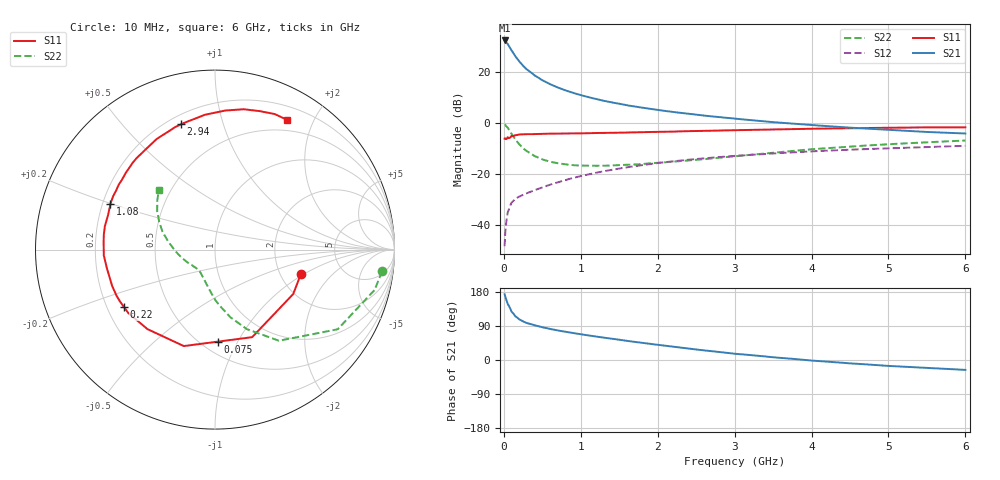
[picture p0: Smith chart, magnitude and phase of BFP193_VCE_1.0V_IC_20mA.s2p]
! Infineon Technologies  Discrete & RF Semiconductors
! BFP193
! VCE = 1.0 V,  IC =  20 mA
! Common Emitter S-Parameters:  Jan 2016
# GHz  S  MA  R  50
!  f  S11  S21  S12  S22
! GHz  MAG  ANG  MAG  ANG  MAG  ANG  MAG  ANG
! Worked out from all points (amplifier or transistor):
!   210 points, 10 MHz to 6 GHz, reference 50 ohm
!   highest |S21| = 32.4 dB at 10 MHz (marker M1)
!   |S21| within 3 dB of that: start of sweep to 81.87 MHz
!   unconditionally stable (mu >= 1): 683.6 MHz to 3.97 GHz
!   at 185 MHz: K = 0.51, MSG = 26.9 dB, |S12| = -29.0 dB
!   at 1.52 GHz: K = 1.09, MAG = 10.7 dB, |S12| = -17.7 dB
!   at 6 GHz: K = 0.97, MSG = 2.4 dB, |S12| = -8.9 dB
!   S11 on the Smith chart (normalised r, x): 10 MHz: 2.59, -0.93; 75 MHz: 0.60, -0.83; 220 MHz: 0.27, -0.27; 1.08 GHz: 0.23, +0.20; 2.94 GHz: 0.25, +0.74; 6 GHz: 0.36, +1.64
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0.01  0.4976 -15.8  41.49 173.4  0.0039 86.1  0.9393 -7.4
0.02  0.5012 -29.6  39.83 165.6  0.0078 77.6  0.9171 -14.2
0.05  0.53 -67.0  35.38 148.0  0.0177 65.8  0.815 -33.0
0.075  0.5129 -88.1  30.55 139.3  0.0226 58.1  0.7045 -42.5
0.1  0.5648 -107.9  26.67 127.7  0.0277 53.2  0.6198 -55.0
0.15  0.5813 -130.3  20.23 115.2  0.033 47.9  0.477 -68.2
0.2  0.5985 -143.8  16.18 107.3  0.0364 46.2  0.3864 -77.2
0.22  0.5995 -147.7  14.97 105.3  0.0376 46.1  0.3599 -79.7
0.26  0.6057 -154.8  12.79 100.9  0.0401 46.3  0.3136 -85.2
0.3  0.6078 -160.5  11.21 97.5  0.0424 47.8  0.282 -89.5
0.4  0.6112 -170.2  8.589 91.4  0.0487 49.8  0.2265 -97.8
0.5  0.6203 -177.0  6.901 86.4  0.055 51.7  0.1945 -104.7
0.7  0.6252 172.0  4.989 77.9  0.0691 54.8  0.1638 -115.2
1.02  0.6306 158.8  3.463 67.3  0.0929 55.6  0.1473 -126.9
1.08  0.635 156.6  3.278 65.5  0.0976 55.5  0.1468 -128.9
1.4  0.6471 145.9  2.541 56.3  0.1215 53.6  0.1484 -138.0
2.02  0.6738 128.1  1.793 39.6  0.1667 47.8  0.1675 -154.4
2.94  0.7232 105.1  1.249 17.9  0.2245 36.8  0.2198 -177.6
3.1  0.7299 101.9  1.185 14.9  0.2333 34.9  0.2309 178.7
4.1  0.7801 84.3  0.895 -2.8  0.2846 23.1  0.3155 159.7
5.1  0.8129 70.9  0.725 -16.6  0.325 12.2  0.393 145.0
6  0.8268 61.1  0.626 -26.1  0.3593 2.6  0.4561 133.3
